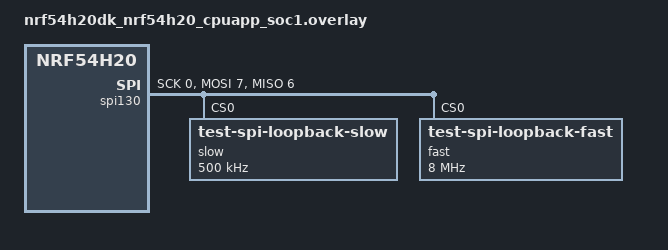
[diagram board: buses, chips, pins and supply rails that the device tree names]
/*
 * Copyright (c) 2021 Nordic Semiconductor ASA
 *
 * SPDX-License-Identifier: LicenseRef-Nordic-5-Clause
 */

&spi130 {
	status = "okay";
	sck-pin = <0>;
	miso-pin = <6>;
	mosi-pin = <7>;
	overrun-character = <0x00>;
	memory-regions = <&ram3x_cpuapp>;
	slow@0 {
		compatible = "test-spi-loopback-slow";
		reg = <0>;
		spi-max-frequency = <DT_FREQ_K(500)>;
	};
	fast@0 {
		compatible = "test-spi-loopback-fast";
		reg = <0>;
		spi-max-frequency = <DT_FREQ_M(8)>;
	};
};

&gpio0 {
	status = "okay";
};
